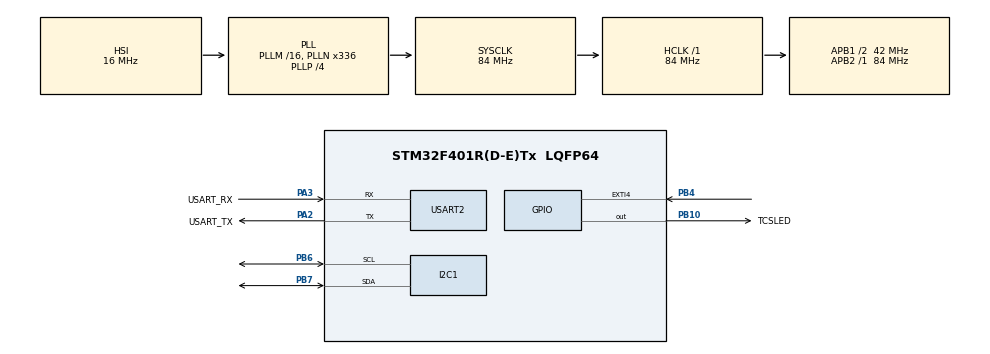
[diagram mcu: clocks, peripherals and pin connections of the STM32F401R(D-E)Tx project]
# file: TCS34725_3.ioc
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Mcu.Family=STM32F4
Mcu.Name=STM32F401R(D-E)Tx
Mcu.Package=LQFP64
NVIC.I2C1_ER_IRQn=true\:0\:0\:false\:false\:true\:true\:true\:true
NVIC.I2C1_EV_IRQn=true\:0\:0\:false\:false\:true\:true\:true\:true
NVIC.PriorityGroup=NVIC_PRIORITYGROUP_0
NVIC.USART2_IRQn=true\:0\:0\:false\:false\:true\:true\:true\:true
PA13.GPIO_Label=TMS
PA13.Mode=Serial_Wire
PA13.Signal=SYS_JTMS-SWDIO
PA14.GPIO_Label=TCK
PA14.Mode=Serial_Wire
PA14.Signal=SYS_JTCK-SWCLK
PA2.GPIO_Label=USART_TX
PA2.GPIO_Mode=GPIO_MODE_AF_PP
PA2.GPIO_PuPd=GPIO_NOPULL
PA2.GPIO_Speed=GPIO_SPEED_FREQ_LOW
PA2.Mode=Asynchronous
PA2.Signal=USART2_TX
PA3.GPIO_Label=USART_RX
PA3.GPIO_Mode=GPIO_MODE_AF_PP
PA3.GPIO_PuPd=GPIO_NOPULL
PA3.GPIO_Speed=GPIO_SPEED_FREQ_LOW
PA3.Mode=Asynchronous
PA3.Signal=USART2_RX
PB10.GPIO_Label=TCSLED
PB10.Signal=GPIO_Output
PB3.GPIO_Label=SWO
PB3.Signal=SYS_JTDO-SWO
PB4.Signal=GPXTI4
PB6.GPIO_Pu=GPIO_PULLUP
PB6.Mode=I2C
PB6.Signal=I2C1_SCL
PB7.GPIO_Pu=GPIO_PULLUP
PB7.Mode=I2C
PB7.Signal=I2C1_SDA
PC14-OSC32_IN.Mode=LSE-External-Oscillator
PC14-OSC32_IN.Signal=RCC_OSC32_IN
PC15-OSC32_OUT.Mode=LSE-External-Oscillator
PC15-OSC32_OUT.Signal=RCC_OSC32_OUT
PH0\ -\ OSC_IN.Mode=HSE-External-Clock-Source
PH0\ -\ OSC_IN.Signal=RCC_OSC_IN
PH1\ -\ OSC_OUT.Mode=HSE-External-Clock-Source
PH1\ -\ OSC_OUT.Signal=RCC_OSC_OUT
ProjectManager.HeapSize=0x200
ProjectManager.StackSize=0x400
ProjectManager.TargetToolchain=STM32CubeIDE
RCC.48MHZClocksFreq_Value=48000000
RCC.AHBFreq_Value=84000000
RCC.APB1CLKDivider=RCC_HCLK_DIV2
RCC.APB1Freq_Value=42000000
RCC.APB1TimFreq_Value=84000000
RCC.APB2Freq_Value=84000000
RCC.APB2TimFreq_Value=84000000
RCC.CortexFreq_Value=84000000
RCC.HCLKFreq_Value=84000000
RCC.HSE_VALUE=8000000
RCC.HSI_VALUE=16000000
RCC.PLLN=336
RCC.PLLP=RCC_PLLP_DIV4
RCC.PLLQ=7
RCC.SYSCLKFreq_VALUE=84000000
RCC.SYSCLKSource=RCC_SYSCLKSOURCE_PLLCLK
RCC.VCOOutputFreq_Value=336000000
USART2.VirtualMode=VM_ASYNC
board=NUCLEO-F401RE

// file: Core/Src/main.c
/* USER CODE BEGIN Header */
/**
  ******************************************************************************
  * @file           : main.c
  * @brief          : Main program body
  ******************************************************************************
  * @attention
  *
  * Copyright (c) 2024 STMicroelectronics.
  * All rights reserved.
  *
  * This software is licensed under terms that can be found in the LICENSE file
  * in the root directory of this software component.
  * If no LICENSE file comes with this software, it is provided AS-IS.
  *
  ******************************************************************************
  */
/* USER CODE END Header */
#include "main.h"

/* USER CODE BEGIN Includes */
#include <string.h>
#include <stdlib.h>
#include <stdio.h>
#include "TCS.h"
#include "USART.h"
/* USER CODE END Includes */

I2C_HandleTypeDef hi2c1;

UART_HandleTypeDef huart2;

/* USER CODE BEGIN PV */

uint8_t LIVE_TOGGLE=0;
uint8_t PREVIEW_TOGGLE=0;
uint16_t Delay=10000;

uint8_t ARCHIVED_DATA[1200][3]={{-1,-1,-1}};
__IO int ARCHIVE_RS=0;

/* USER CODE END PV */

void SystemClock_Config(void);
static void MX_GPIO_Init(void);
static void MX_USART2_UART_Init(void);
static void MX_I2C1_Init(void);

/* USER CODE BEGIN 0 */

void ADD_ARCHIVE_DATA(uint8_t r,uint8_t g,uint8_t b){
	  ARCHIVED_DATA[ARCHIVE_RS][0]=r;
	  ARCHIVED_DATA[ARCHIVE_RS][1]=g;
	  ARCHIVED_DATA[ARCHIVE_RS][2]=b;
	  ARCHIVE_RS++;
	  if(ARCHIVE_RS >= 1200) ARCHIVE_RS=0;
}
/* USER CODE END 0 */

int main(void)
{

  /* MCU Configuration--------------------------------------------------------*/

  /* Reset of all peripherals, Initializes the Flash interface and the Systick. */
  HAL_Init();

  /* USER CODE BEGIN Init */
  SysTick_Config(84000000/1000);
  /* USER CODE END Init */

  /* Configure the system clock */
  SystemClock_Config();

  /* Initialize all configured peripherals */
  MX_GPIO_Init();
  MX_USART2_UART_Init();
  MX_I2C1_Init();
  /* USER CODE BEGIN 2 */

  //########	Inicjalizacja czujnika	########

  //HAL_GPIO_WritePin(TCSLED_GPIO_Port, TCSLED_Pin, GPIO_PIN_RESET); //Wyłączenie diody led

  I2C_Write8BIT(ATIME_REG,0); //Ustawienie czasu RGBC
  I2C_Write8BIT(CONTROL_REG,0); //Ustawienie Gainu
  I2C_Write8BIT(ENABLE_REG,3); //Włączenie czujnika

  //############################################

  USART_start();
  USART_fsend("Hello User!;");
  char FRAME[MAX_FRAME_SIZE]={""};

  /* USER CODE END 2 */

  /* Infinite loop */
  while (1)
  {

    /* USER CODE BEGIN 3 */
	  if(BX_haveData()==1)
		  USART_GETFRAME(FRAME);

	  if(strlen(FRAME)!=0){
		  ParseCommand(FRAME);
		  FRAME[0]=0;
	  }
	  if(LIVE_TOGGLE==1 && HAL_GetTick() % Delay == 0){
		  //uint8_t r=I2C_GetColor(RED);
		  //uint8_t g=I2C_GetColor(GREEN);
		  //uint8_t b=I2C_GetColor(BLUE);

		  //ADD_ARCHIVE_DATA(r,g,b);

		  //if(PREVIEW_TOGGLE==1)
			  //USART_fsend("R= %d\tG= %d\tB= %d;",r,g,b);
		USART_fsend("ID=0x%02x",I2C_Read8BIT(TCS34725_ID));
	  }
  }
  /* USER CODE END 3 */
}

void SystemClock_Config(void)
{
  RCC_OscInitTypeDef RCC_OscInitStruct = {0};
  RCC_ClkInitTypeDef RCC_ClkInitStruct = {0};

  /** Configure the main internal regulator output voltage
  */
  __HAL_RCC_PWR_CLK_ENABLE();
  __HAL_PWR_VOLTAGESCALING_CONFIG(PWR_REGULATOR_VOLTAGE_SCALE2);

  /** Initializes the RCC Oscillators according to the specified parameters
  * in the RCC_OscInitTypeDef structure.
  */
  RCC_OscInitStruct.OscillatorType = RCC_OSCILLATORTYPE_HSI;
  RCC_OscInitStruct.HSIState = RCC_HSI_ON;
  RCC_OscInitStruct.HSICalibrationValue = RCC_HSICALIBRATION_DEFAULT;
  RCC_OscInitStruct.PLL.PLLState = RCC_PLL_ON;
  RCC_OscInitStruct.PLL.PLLSource = RCC_PLLSOURCE_HSI;
  RCC_OscInitStruct.PLL.PLLM = 16;
  RCC_OscInitStruct.PLL.PLLN = 336;
  RCC_OscInitStruct.PLL.PLLP = RCC_PLLP_DIV4;
  RCC_OscInitStruct.PLL.PLLQ = 7;
  if (HAL_RCC_OscConfig(&RCC_OscInitStruct) != HAL_OK)
  {
    Error_Handler();
  }

  /** Initializes the CPU, AHB and APB buses clocks
  */
  RCC_ClkInitStruct.ClockType = RCC_CLOCKTYPE_HCLK|RCC_CLOCKTYPE_SYSCLK
                              |RCC_CLOCKTYPE_PCLK1|RCC_CLOCKTYPE_PCLK2;
  RCC_ClkInitStruct.SYSCLKSource = RCC_SYSCLKSOURCE_PLLCLK;
  RCC_ClkInitStruct.AHBCLKDivider = RCC_SYSCLK_DIV1;
  RCC_ClkInitStruct.APB1CLKDivider = RCC_HCLK_DIV2;
  RCC_ClkInitStruct.APB2CLKDivider = RCC_HCLK_DIV1;

  if (HAL_RCC_ClockConfig(&RCC_ClkInitStruct, FLASH_LATENCY_2) != HAL_OK)
  {
    Error_Handler();
  }
}

static void MX_I2C1_Init(void)
{

  hi2c1.Instance = I2C1;
  hi2c1.Init.ClockSpeed = 100000;
  hi2c1.Init.DutyCycle = I2C_DUTYCYCLE_2;
  hi2c1.Init.OwnAddress1 = 0;
  hi2c1.Init.AddressingMode = I2C_ADDRESSINGMODE_7BIT;
  hi2c1.Init.DualAddressMode = I2C_DUALADDRESS_DISABLE;
  hi2c1.Init.OwnAddress2 = 0;
  hi2c1.Init.GeneralCallMode = I2C_GENERALCALL_DISABLE;
  hi2c1.Init.NoStretchMode = I2C_NOSTRETCH_DISABLE;
  if (HAL_I2C_Init(&hi2c1) != HAL_OK)
  {
    Error_Handler();
  }

}

static void MX_USART2_UART_Init(void)
{

  huart2.Instance = USART2;
  huart2.Init.BaudRate = 115200;
  huart2.Init.WordLength = UART_WORDLENGTH_8B;
  huart2.Init.StopBits = UART_STOPBITS_1;
  huart2.Init.Parity = UART_PARITY_NONE;
  huart2.Init.Mode = UART_MODE_TX_RX;
  huart2.Init.HwFlowCtl = UART_HWCONTROL_NONE;
  huart2.Init.OverSampling = UART_OVERSAMPLING_16;
  if (HAL_UART_Init(&huart2) != HAL_OK)
  {
    Error_Handler();
  }

}

static void MX_GPIO_Init(void)
{
  GPIO_InitTypeDef GPIO_InitStruct = {0};

  /* GPIO Ports Clock Enable */
  __HAL_RCC_GPIOC_CLK_ENABLE();
  __HAL_RCC_GPIOH_CLK_ENABLE();
  __HAL_RCC_GPIOA_CLK_ENABLE();
  __HAL_RCC_GPIOB_CLK_ENABLE();

  /*Configure GPIO pin Output Level */
  HAL_GPIO_WritePin(TCSLED_GPIO_Port, TCSLED_Pin, GPIO_PIN_RESET);

  /*Configure GPIO pin : TCSLED_Pin */
  GPIO_InitStruct.Pin = TCSLED_Pin;
  GPIO_InitStruct.Mode = GPIO_MODE_OUTPUT_PP;
  GPIO_InitStruct.Pull = GPIO_NOPULL;
  GPIO_InitStruct.Speed = GPIO_SPEED_FREQ_LOW;
  HAL_GPIO_Init(TCSLED_GPIO_Port, &GPIO_InitStruct);

  /*Configure GPIO pin : PB4 */
  GPIO_InitStruct.Pin = GPIO_PIN_4;
  GPIO_InitStruct.Mode = GPIO_MODE_IT_RISING;
  GPIO_InitStruct.Pull = GPIO_NOPULL;
  HAL_GPIO_Init(GPIOB, &GPIO_InitStruct);

}

void Error_Handler(void)
{
  __disable_irq();
  while (1)
  {
  }
}
